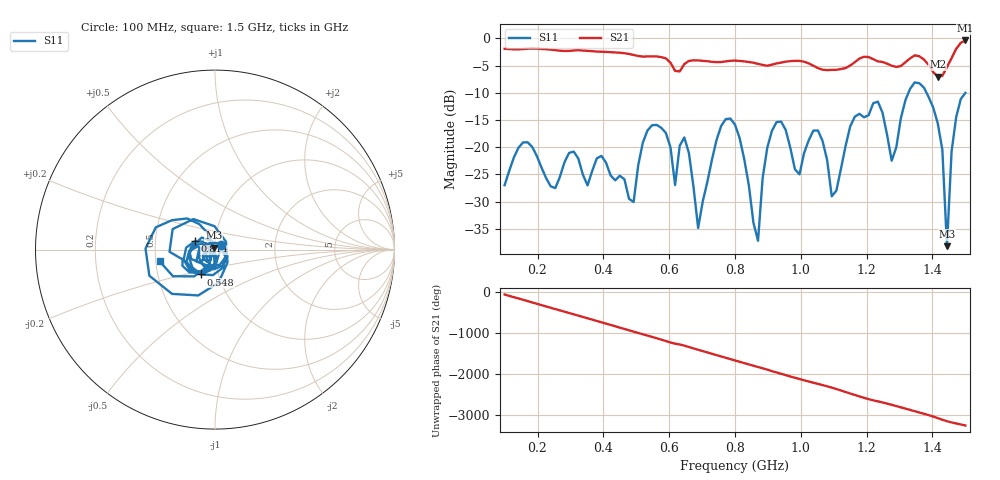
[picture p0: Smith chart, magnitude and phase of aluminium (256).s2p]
! NanoVNA-App
! Date: 2025-09-25 14:57:16
! Start: 100MHz Stop: 1,5GHz Points: 101
! S-Parameter data: F S11 S21 S12 S22
# Hz S RI R 50
!  Frequency  S11_Real  S11_Imag  S21_Real  S21_Imag  S12_Real  S12_Imag  S22_Real  S22_Imag
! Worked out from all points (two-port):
!   101 points, 100 MHz to 1.5 GHz, reference 50 ohm
!   highest |S21| = -0.39 dB at 1.5 GHz (marker M1); lowest = -7.0 dB at 1.416 GHz (marker M2)
!   |S21| within 3 dB of the highest: start of sweep to 569.5 MHz; 1.46 GHz to end of sweep (the widest 2 of 4)
!   lowest |S11| = -38.2 dB at 1.444 GHz (marker M3), VSWR 1.03, Z = 49.3 + j0.978 ohm
!   |S11| at or under -10 dB: start of sweep to 1.327 GHz; 1.382 GHz to end of sweep
!   S12 and S22 are empty: the file has one direction only
!   S11 on the Smith chart (normalised r, x): 100 MHz: 1.07, +0.06; 548 MHz: 0.82, -0.23; 814 MHz: 0.79, +0.07; 1.5 GHz: 0.52, -0.08
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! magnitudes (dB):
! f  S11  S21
! 100 MHz  -27.0  -1.9
! 338 MHz  -25.1  -2.2
! 492 MHz  -30.0  -3.1
! 548 MHz  -16.0  -3.3
! 576 MHz  -16.4  -3.5
! 618 MHz  -26.9  -6.0
! 646 MHz  -18.2  -4.7
! 688 MHz  -34.8  -4.1
! 800 MHz  -15.9  -4.1
! 814 MHz  -18.3  -4.1
! 870 MHz  -37.2  -4.7
! 912 MHz  -17.0  -4.8
! 996 MHz  -25.0  -4.1
! 1.038 GHz  -16.9  -5.0
! 1.094 GHz  -29.0  -5.8
! 1.22 GHz  -11.9  -3.8
! 1.276 GHz  -22.5  -5.0
! 1.346 GHz  -8.1  -3.1
! 1.416 GHz  -15.6  -7.0
! 1.444 GHz  -38.2  -5.3
! 1.458 GHz  -20.8  -3.6
! 1.5 GHz  -10.0  -0.4
